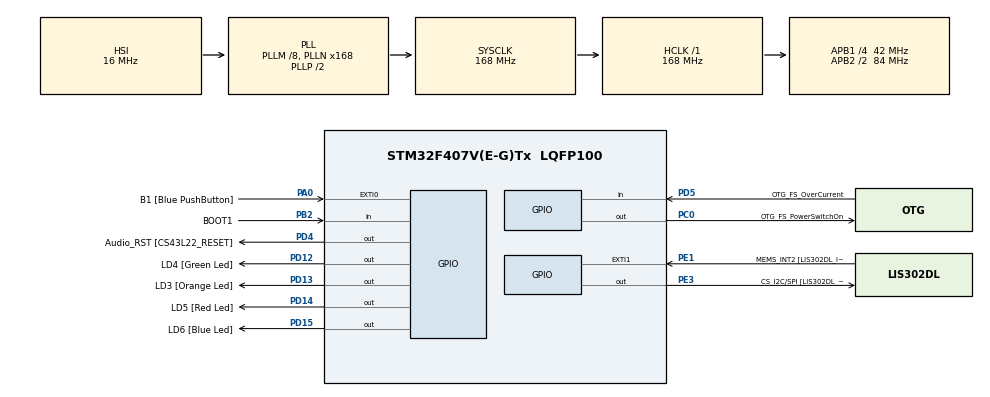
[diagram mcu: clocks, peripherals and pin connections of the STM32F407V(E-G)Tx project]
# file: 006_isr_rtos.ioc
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Mcu.Family=STM32F4
Mcu.Name=STM32F407V(E-G)Tx
Mcu.Package=LQFP100
NVIC.EXTI0_IRQn=true\:0\:0\:false\:false\:true\:true\:true\:true
NVIC.PriorityGroup=NVIC_PRIORITYGROUP_4
NVIC.TIM6_DAC_IRQn=true\:0\:0\:false\:false\:true\:false\:true\:true
NVIC.TimeBase=TIM6_DAC_IRQn
NVIC.TimeBaseIP=TIM6
PA0-WKUP.GPIO_Label=B1 [Blue PushButton]
PA0-WKUP.Signal=GPXTI0
PA10.GPIO_Label=OTG_FS_ID
PA10.GPIO_Mode=GPIO_MODE_AF_PP
PA10.GPIO_PuPd=GPIO_NOPULL
PA10.GPIO_Speed=GPIO_SPEED_FREQ_LOW
PA10.Signal=USB_OTG_FS_ID
PA11.GPIO_Label=OTG_FS_DM
PA11.GPIO_Mode=GPIO_MODE_AF_PP
PA11.GPIO_PuPd=GPIO_NOPULL
PA11.GPIO_Speed=GPIO_SPEED_FREQ_LOW
PA11.Signal=USB_OTG_FS_DM
PA12.GPIO_Label=OTG_FS_DP
PA12.GPIO_Mode=GPIO_MODE_AF_PP
PA12.GPIO_PuPd=GPIO_NOPULL
PA12.GPIO_Speed=GPIO_SPEED_FREQ_LOW
PA12.Signal=USB_OTG_FS_DP
PA13.GPIO_Label=SWDIO
PA13.Signal=SYS_JTMS-SWDIO
PA14.GPIO_Label=SWCLK
PA14.Signal=SYS_JTCK-SWCLK
PA4.GPIO_Label=I2S3_WS [CS43L22_LRCK]
PA4.GPIO_Mode=GPIO_MODE_AF_PP
PA4.GPIO_PuPd=GPIO_NOPULL
PA4.GPIO_Speed=GPIO_SPEED_FREQ_LOW
PA4.Signal=I2S3_WS
PA5.GPIO_Label=SPI1_SCK [LIS302DL_SCL/SPC]
PA5.GPIO_Mode=GPIO_MODE_AF_PP
PA5.GPIO_PuPd=GPIO_NOPULL
PA5.GPIO_Speed=GPIO_SPEED_FREQ_LOW
PA5.Signal=SPI1_SCK
PA6.GPIO_Label=SPI1_MISO [LIS302DL_SDO]
PA6.GPIO_Mode=GPIO_MODE_AF_PP
PA6.GPIO_PuPd=GPIO_NOPULL
PA6.GPIO_Speed=GPIO_SPEED_FREQ_LOW
PA6.Signal=SPI1_MISO
PA7.GPIO_Label=SPI1_MOSI [LIS302DL_SDA/SDI/SDO]
PA7.GPIO_Mode=GPIO_MODE_AF_PP
PA7.GPIO_PuPd=GPIO_NOPULL
PA7.GPIO_Speed=GPIO_SPEED_FREQ_LOW
PA7.Signal=SPI1_MOSI
PA9.GPIO_Label=VBUS_FS
PA9.GPIO_Mode=GPIO_MODE_INPUT
PA9.GPIO_PuPd=GPIO_NOPULL
PA9.Signal=USB_OTG_FS_VBUS
PB10.GPIO_Label=CLK_IN [MP45DT02_CLK]
PB10.GPIO_Mode=GPIO_MODE_AF_PP
PB10.GPIO_PuPd=GPIO_NOPULL
PB10.GPIO_Speed=GPIO_SPEED_FREQ_LOW
PB10.Signal=I2S2_CK
PB2.GPIO_Label=BOOT1
PB2.GPIO_Mode=GPIO_MODE_INPUT
PB2.GPIO_PuPd=GPIO_NOPULL
PB2.Signal=GPIO_Input
PB3.GPIO_Label=SWO
PB3.Signal=SYS_JTDO-SWO
PB6.GPIO_Label=Audio_SCL [CS43L22_SCL]
PB6.GPIO_Mode=GPIO_MODE_AF_OD
PB6.GPIO_PuPd=GPIO_NOPULL
PB6.GPIO_Speed=GPIO_SPEED_FREQ_LOW
PB6.Signal=I2C1_SCL
PB9.GPIO_Label=Audio_SDA [CS43L22_SDA]
PB9.GPIO_Mode=GPIO_MODE_AF_OD
PB9.GPIO_PuPd=GPIO_NOPULL
PB9.GPIO_Speed=GPIO_SPEED_FREQ_LOW
PB9.Signal=I2C1_SDA
PC0.GPIO_Label=OTG_FS_PowerSwitchOn
PC0.GPIO_PuPd=GPIO_NOPULL
PC0.GPIO_Speed=GPIO_SPEED_FREQ_LOW
PC0.PinState=GPIO_PIN_SET
PC0.Signal=GPIO_Output
PC10.GPIO_Label=I2S3_SCK [CS43L22_SCLK]
PC10.GPIO_Mode=GPIO_MODE_AF_PP
PC10.GPIO_PuPd=GPIO_NOPULL
PC10.GPIO_Speed=GPIO_SPEED_FREQ_LOW
PC10.Signal=I2S3_CK
PC12.GPIO_Label=I2S3_SD [CS43L22_SDIN]
PC12.GPIO_Mode=GPIO_MODE_AF_PP
PC12.GPIO_PuPd=GPIO_NOPULL
PC12.GPIO_Speed=GPIO_SPEED_FREQ_LOW
PC12.Signal=I2S3_SD
PC14-OSC32_IN.GPIO_Label=PC14-OSC32_IN
PC14-OSC32_IN.Signal=RCC_OSC32_IN
PC15-OSC32_OUT.GPIO_Label=PC15-OSC32_OUT
PC15-OSC32_OUT.Signal=RCC_OSC32_OUT
PC3.GPIO_Label=PDM_OUT [MP45DT02_DOUT]
PC3.GPIO_Mode=GPIO_MODE_AF_PP
PC3.GPIO_PuPd=GPIO_NOPULL
PC3.GPIO_Speed=GPIO_SPEED_FREQ_LOW
PC3.Signal=I2S2_SD
PC7.GPIO_Label=I2S3_MCK [CS43L22_MCLK]
PC7.GPIO_Mode=GPIO_MODE_AF_PP
PC7.GPIO_PuPd=GPIO_NOPULL
PC7.GPIO_Speed=GPIO_SPEED_FREQ_LOW
PC7.Signal=I2S3_MCK
PD12.GPIO_Label=LD4 [Green Led]
PD12.GPIO_PuPd=GPIO_NOPULL
PD12.GPIO_Speed=GPIO_SPEED_FREQ_LOW
PD12.Signal=GPIO_Output
PD13.GPIO_Label=LD3 [Orange Led]
PD13.GPIO_PuPd=GPIO_NOPULL
PD13.GPIO_Speed=GPIO_SPEED_FREQ_LOW
PD13.Signal=GPIO_Output
PD14.GPIO_Label=LD5 [Red Led]
PD14.GPIO_PuPd=GPIO_NOPULL
PD14.GPIO_Speed=GPIO_SPEED_FREQ_LOW
PD14.Signal=GPIO_Output
PD15.GPIO_Label=LD6 [Blue Led]
PD15.GPIO_PuPd=GPIO_NOPULL
PD15.GPIO_Speed=GPIO_SPEED_FREQ_LOW
PD15.Signal=GPIO_Output
PD4.GPIO_Label=Audio_RST [CS43L22_RESET]
PD4.GPIO_PuPd=GPIO_NOPULL
PD4.GPIO_Speed=GPIO_SPEED_FREQ_LOW
PD4.Signal=GPIO_Output
PD5.GPIO_Label=OTG_FS_OverCurrent
PD5.GPIO_Mode=GPIO_MODE_INPUT
PD5.GPIO_PuPd=GPIO_NOPULL
PD5.Signal=GPIO_Input
PE1.GPIO_Label=MEMS_INT2 [LIS302DL_INT2]
PE1.GPIO_ModeDefaultEXTI=GPIO_MODE_EVT_RISING
PE1.GPIO_PuPd=GPIO_NOPULL
PE1.Signal=GPXTI1
PE3.GPIO_Label=CS_I2C/SPI [LIS302DL_CS_I2C/SPI]
PE3.GPIO_PuPd=GPIO_NOPULL
PE3.GPIO_Speed=GPIO_SPEED_FREQ_LOW
PE3.Signal=GPIO_Output
PH0-OSC_IN.GPIO_Label=PH0-OSC_IN
PH0-OSC_IN.Signal=RCC_OSC_IN
PH1-OSC_OUT.GPIO_Label=PH1-OSC_OUT
PH1-OSC_OUT.Signal=RCC_OSC_OUT
ProjectManager.HeapSize=0x200
ProjectManager.StackSize=0x400
ProjectManager.TargetToolchain=STM32CubeIDE
RCC.48MHZClocksFreq_Value=48000000
RCC.AHBFreq_Value=168000000
RCC.APB1CLKDivider=RCC_HCLK_DIV4
RCC.APB1Freq_Value=42000000
RCC.APB1TimFreq_Value=84000000
RCC.APB2CLKDivider=RCC_HCLK_DIV2
RCC.APB2Freq_Value=84000000
RCC.APB2TimFreq_Value=168000000
RCC.CortexFreq_Value=168000000
RCC.HCLKFreq_Value=168000000
RCC.HSE_VALUE=8000000
RCC.HSI_VALUE=16000000
RCC.LSE_VALUE=32768
RCC.PLLM=8
RCC.PLLN=168
RCC.PLLQ=7
RCC.SYSCLKFreq_VALUE=168000000
RCC.SYSCLKSource=RCC_SYSCLKSOURCE_PLLCLK
RCC.VCOOutputFreq_Value=336000000
VP_SYS_VS_tim6.Mode=TIM6
board=STM32F407G-DISC1

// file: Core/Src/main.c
/* USER CODE BEGIN Header */
/**
  ******************************************************************************
  * @file           : main.c
  * @brief          : Main program body
  ******************************************************************************
  * @attention
  *
  * <h2><center>&copy; Copyright (c) 2021 STMicroelectronics.
  * All rights reserved.</center></h2>
  *
  * This software component is licensed by ST under BSD 3-Clause license,
  * the "License"; You may not use this file except in compliance with the
  * License. You may obtain a copy of the License at:
  *                        opensource.org/licenses/BSD-3-Clause
  *
  ******************************************************************************
  */
/* USER CODE END Header */

#include "main.h"

/* USER CODE BEGIN Includes */

#include "FreeRTOS.h"
#include "task.h"

/* USER CODE END Includes */

/* USER CODE BEGIN PV */

#define DWT_CTRL    (*(volatile uint32_t*)0xE0001000)

/* USER CODE END PV */

void SystemClock_Config(void);
static void MX_GPIO_Init(void);
/* USER CODE BEGIN PFP */

static void led_green_handler(void* parameters);
static void led_orange_handler(void* parameters);
static void led_red_handler(void* parameters);

extern void SEGGER_UART_init(uint32_t);

TaskHandle_t ledg_task_handle;
TaskHandle_t ledo_task_handle;
TaskHandle_t ledr_task_handle;
TaskHandle_t btn_task_handle;

TaskHandle_t volatile next_task_handle = NULL;

/* USER CODE END PFP */

int main(void)
{
  /* USER CODE BEGIN 1 */

	BaseType_t status;

  /* USER CODE END 1 */

  /* MCU Configuration--------------------------------------------------------*/

  /* Reset of all peripherals, Initializes the Flash interface and the Systick. */
  HAL_Init();

  /* Configure the system clock */
  SystemClock_Config();

  /* Initialize all configured peripherals */
  MX_GPIO_Init();
  /* USER CODE BEGIN 2 */

  SEGGER_UART_init(500000);

  //CYCLCNT enable
  DWT_CTRL |= ( 1 << 0);

  SEGGER_SYSVIEW_Conf();

  status = xTaskCreate(led_green_handler, "LED_green_task", 200, NULL, 3, &ledg_task_handle);

  configASSERT(status == pdPASS);

  next_task_handle = ledg_task_handle;

  status = xTaskCreate(led_orange_handler, "LED_orange_task", 200, NULL, 2, &ledo_task_handle);

   configASSERT(status == pdPASS);

  status = xTaskCreate(led_red_handler, "LED_red_task", 200,NULL, 1, &ledr_task_handle);

  configASSERT(status == pdPASS);

  //start the freeRTOS scheduler
  vTaskStartScheduler();

  /* USER CODE END 2 */

  /* Infinite loop */
  while (1)
  {

  }
}

void SystemClock_Config(void)
{
  RCC_OscInitTypeDef RCC_OscInitStruct = {0};
  RCC_ClkInitTypeDef RCC_ClkInitStruct = {0};

  /** Configure the main internal regulator output voltage
  */
  __HAL_RCC_PWR_CLK_ENABLE();
  __HAL_PWR_VOLTAGESCALING_CONFIG(PWR_REGULATOR_VOLTAGE_SCALE1);
  /** Initializes the CPU, AHB and APB busses clocks
  */
  RCC_OscInitStruct.OscillatorType = RCC_OSCILLATORTYPE_HSI;
  RCC_OscInitStruct.HSIState = RCC_HSI_ON;
  RCC_OscInitStruct.HSICalibrationValue = RCC_HSICALIBRATION_DEFAULT;
  RCC_OscInitStruct.PLL.PLLState = RCC_PLL_ON;
  RCC_OscInitStruct.PLL.PLLSource = RCC_PLLSOURCE_HSI;
  RCC_OscInitStruct.PLL.PLLM = 8;
  RCC_OscInitStruct.PLL.PLLN = 168;
  RCC_OscInitStruct.PLL.PLLP = RCC_PLLP_DIV2;
  RCC_OscInitStruct.PLL.PLLQ = 7;
  if (HAL_RCC_OscConfig(&RCC_OscInitStruct) != HAL_OK)
  {
    Error_Handler();
  }
  /** Initializes the CPU, AHB and APB busses clocks
  */
  RCC_ClkInitStruct.ClockType = RCC_CLOCKTYPE_HCLK|RCC_CLOCKTYPE_SYSCLK
                              |RCC_CLOCKTYPE_PCLK1|RCC_CLOCKTYPE_PCLK2;
  RCC_ClkInitStruct.SYSCLKSource = RCC_SYSCLKSOURCE_PLLCLK;
  RCC_ClkInitStruct.AHBCLKDivider = RCC_SYSCLK_DIV1;
  RCC_ClkInitStruct.APB1CLKDivider = RCC_HCLK_DIV4;
  RCC_ClkInitStruct.APB2CLKDivider = RCC_HCLK_DIV2;

  if (HAL_RCC_ClockConfig(&RCC_ClkInitStruct, FLASH_LATENCY_5) != HAL_OK)
  {
    Error_Handler();
  }
}

static void MX_GPIO_Init(void)
{
  GPIO_InitTypeDef GPIO_InitStruct = {0};

  /* GPIO Ports Clock Enable */
  __HAL_RCC_GPIOE_CLK_ENABLE();
  __HAL_RCC_GPIOC_CLK_ENABLE();
  __HAL_RCC_GPIOH_CLK_ENABLE();
  __HAL_RCC_GPIOA_CLK_ENABLE();
  __HAL_RCC_GPIOB_CLK_ENABLE();
  __HAL_RCC_GPIOD_CLK_ENABLE();

  /*Configure GPIO pin Output Level */
  HAL_GPIO_WritePin(CS_I2C_SPI_GPIO_Port, CS_I2C_SPI_Pin, GPIO_PIN_RESET);

  /*Configure GPIO pin Output Level */
  HAL_GPIO_WritePin(OTG_FS_PowerSwitchOn_GPIO_Port, OTG_FS_PowerSwitchOn_Pin, GPIO_PIN_SET);

  /*Configure GPIO pin Output Level */
  HAL_GPIO_WritePin(GPIOD, LD4_Pin|LD3_Pin|LD5_Pin|LD6_Pin
                          |Audio_RST_Pin, GPIO_PIN_RESET);

  /*Configure GPIO pin : CS_I2C_SPI_Pin */
  GPIO_InitStruct.Pin = CS_I2C_SPI_Pin;
  GPIO_InitStruct.Mode = GPIO_MODE_OUTPUT_PP;
  GPIO_InitStruct.Pull = GPIO_NOPULL;
  GPIO_InitStruct.Speed = GPIO_SPEED_FREQ_LOW;
  HAL_GPIO_Init(CS_I2C_SPI_GPIO_Port, &GPIO_InitStruct);

  /*Configure GPIO pin : OTG_FS_PowerSwitchOn_Pin */
  GPIO_InitStruct.Pin = OTG_FS_PowerSwitchOn_Pin;
  GPIO_InitStruct.Mode = GPIO_MODE_OUTPUT_PP;
  GPIO_InitStruct.Pull = GPIO_NOPULL;
  GPIO_InitStruct.Speed = GPIO_SPEED_FREQ_LOW;
  HAL_GPIO_Init(OTG_FS_PowerSwitchOn_GPIO_Port, &GPIO_InitStruct);

  /*Configure GPIO pin : PDM_OUT_Pin */
  GPIO_InitStruct.Pin = PDM_OUT_Pin;
  GPIO_InitStruct.Mode = GPIO_MODE_AF_PP;
  GPIO_InitStruct.Pull = GPIO_NOPULL;
  GPIO_InitStruct.Speed = GPIO_SPEED_FREQ_LOW;
  GPIO_InitStruct.Alternate = GPIO_AF5_SPI2;
  HAL_GPIO_Init(PDM_OUT_GPIO_Port, &GPIO_InitStruct);

  /*Configure GPIO pin : B1_Pin */
  GPIO_InitStruct.Pin = B1_Pin;
  GPIO_InitStruct.Mode = GPIO_MODE_IT_FALLING;
  GPIO_InitStruct.Pull = GPIO_NOPULL;
  HAL_GPIO_Init(B1_GPIO_Port, &GPIO_InitStruct);

  /*Configure GPIO pin : I2S3_WS_Pin */
  GPIO_InitStruct.Pin = I2S3_WS_Pin;
  GPIO_InitStruct.Mode = GPIO_MODE_AF_PP;
  GPIO_InitStruct.Pull = GPIO_NOPULL;
  GPIO_InitStruct.Speed = GPIO_SPEED_FREQ_LOW;
  GPIO_InitStruct.Alternate = GPIO_AF6_SPI3;
  HAL_GPIO_Init(I2S3_WS_GPIO_Port, &GPIO_InitStruct);

  /*Configure GPIO pins : SPI1_SCK_Pin SPI1_MISO_Pin SPI1_MOSI_Pin */
  GPIO_InitStruct.Pin = SPI1_SCK_Pin|SPI1_MISO_Pin|SPI1_MOSI_Pin;
  GPIO_InitStruct.Mode = GPIO_MODE_AF_PP;
  GPIO_InitStruct.Pull = GPIO_NOPULL;
  GPIO_InitStruct.Speed = GPIO_SPEED_FREQ_LOW;
  GPIO_InitStruct.Alternate = GPIO_AF5_SPI1;
  HAL_GPIO_Init(GPIOA, &GPIO_InitStruct);

  /*Configure GPIO pin : BOOT1_Pin */
  GPIO_InitStruct.Pin = BOOT1_Pin;
  GPIO_InitStruct.Mode = GPIO_MODE_INPUT;
  GPIO_InitStruct.Pull = GPIO_NOPULL;
  HAL_GPIO_Init(BOOT1_GPIO_Port, &GPIO_InitStruct);

  /*Configure GPIO pin : CLK_IN_Pin */
  GPIO_InitStruct.Pin = CLK_IN_Pin;
  GPIO_InitStruct.Mode = GPIO_MODE_AF_PP;
  GPIO_InitStruct.Pull = GPIO_NOPULL;
  GPIO_InitStruct.Speed = GPIO_SPEED_FREQ_LOW;
  GPIO_InitStruct.Alternate = GPIO_AF5_SPI2;
  HAL_GPIO_Init(CLK_IN_GPIO_Port, &GPIO_InitStruct);

  /*Configure GPIO pins : LD4_Pin LD3_Pin LD5_Pin LD6_Pin
                           Audio_RST_Pin */
  GPIO_InitStruct.Pin = LD4_Pin|LD3_Pin|LD5_Pin|LD6_Pin
                          |Audio_RST_Pin;
  GPIO_InitStruct.Mode = GPIO_MODE_OUTPUT_PP;
  GPIO_InitStruct.Pull = GPIO_NOPULL;
  GPIO_InitStruct.Speed = GPIO_SPEED_FREQ_LOW;
  HAL_GPIO_Init(GPIOD, &GPIO_InitStruct);

  /*Configure GPIO pins : I2S3_MCK_Pin I2S3_SCK_Pin I2S3_SD_Pin */
  GPIO_InitStruct.Pin = I2S3_MCK_Pin|I2S3_SCK_Pin|I2S3_SD_Pin;
  GPIO_InitStruct.Mode = GPIO_MODE_AF_PP;
  GPIO_InitStruct.Pull = GPIO_NOPULL;
  GPIO_InitStruct.Speed = GPIO_SPEED_FREQ_LOW;
  GPIO_InitStruct.Alternate = GPIO_AF6_SPI3;
  HAL_GPIO_Init(GPIOC, &GPIO_InitStruct);

  /*Configure GPIO pin : VBUS_FS_Pin */
  GPIO_InitStruct.Pin = VBUS_FS_Pin;
  GPIO_InitStruct.Mode = GPIO_MODE_INPUT;
  GPIO_InitStruct.Pull = GPIO_NOPULL;
  HAL_GPIO_Init(VBUS_FS_GPIO_Port, &GPIO_InitStruct);

  /*Configure GPIO pins : OTG_FS_ID_Pin OTG_FS_DM_Pin OTG_FS_DP_Pin */
  GPIO_InitStruct.Pin = OTG_FS_ID_Pin|OTG_FS_DM_Pin|OTG_FS_DP_Pin;
  GPIO_InitStruct.Mode = GPIO_MODE_AF_PP;
  GPIO_InitStruct.Pull = GPIO_NOPULL;
  GPIO_InitStruct.Speed = GPIO_SPEED_FREQ_LOW;
  GPIO_InitStruct.Alternate = GPIO_AF10_OTG_FS;
  HAL_GPIO_Init(GPIOA, &GPIO_InitStruct);

  /*Configure GPIO pin : OTG_FS_OverCurrent_Pin */
  GPIO_InitStruct.Pin = OTG_FS_OverCurrent_Pin;
  GPIO_InitStruct.Mode = GPIO_MODE_INPUT;
  GPIO_InitStruct.Pull = GPIO_NOPULL;
  HAL_GPIO_Init(OTG_FS_OverCurrent_GPIO_Port, &GPIO_InitStruct);

  /*Configure GPIO pins : Audio_SCL_Pin Audio_SDA_Pin */
  GPIO_InitStruct.Pin = Audio_SCL_Pin|Audio_SDA_Pin;
  GPIO_InitStruct.Mode = GPIO_MODE_AF_OD;
  GPIO_InitStruct.Pull = GPIO_PULLUP;
  GPIO_InitStruct.Speed = GPIO_SPEED_FREQ_LOW;
  GPIO_InitStruct.Alternate = GPIO_AF4_I2C1;
  HAL_GPIO_Init(GPIOB, &GPIO_InitStruct);

  /*Configure GPIO pin : MEMS_INT2_Pin */
  GPIO_InitStruct.Pin = MEMS_INT2_Pin;
  GPIO_InitStruct.Mode = GPIO_MODE_EVT_RISING;
  GPIO_InitStruct.Pull = GPIO_NOPULL;
  HAL_GPIO_Init(MEMS_INT2_GPIO_Port, &GPIO_InitStruct);

  /* EXTI interrupt init*/
  HAL_NVIC_SetPriority(EXTI0_IRQn, 6, 0);
  HAL_NVIC_EnableIRQ(EXTI0_IRQn);

}

/* USER CODE BEGIN 4 */

void button_interrupt_handler(void)
{
    static TickType_t last_isr_tick = 0;
    BaseType_t xHigherPriorityTaskWoken = pdFALSE;
    TickType_t now;

    now = xTaskGetTickCountFromISR();

    if ((now - last_isr_tick) < pdMS_TO_TICKS(50))
    {
        return;
    }

    last_isr_tick = now;

    if (next_task_handle != NULL)
    {
        traceISR_ENTER();

        xTaskNotifyFromISR(next_task_handle,
                           0,
                           eNoAction,
                           &xHigherPriorityTaskWoken);

//        xTaskNotifyFromISR(next_task_handle,
//						   0,
//						   eNoAction,
//						   NULL);

        portYIELD_FROM_ISR(xHigherPriorityTaskWoken);

        traceISR_EXIT();
    }
}

static void led_green_handler(void* parameters)
{
	BaseType_t  status;
	while(1)
	{
		SEGGER_SYSVIEW_PrintfTarget("Toggling green LED");
		HAL_GPIO_TogglePin(GPIOD, GPIO_PIN_12);
		status = xTaskNotifyWait(0,0,NULL,pdMS_TO_TICKS(1000));
		if(status == pdTRUE){
			portENTER_CRITICAL();
			next_task_handle = ledo_task_handle;
			HAL_GPIO_WritePin(GPIOD, GPIO_PIN_12,GPIO_PIN_SET);
			SEGGER_SYSVIEW_PrintfTarget("Delete green LED task");
			portEXIT_CRITICAL();
			vTaskDelete(NULL);
		}

	}
}

static void led_orange_handler(void* parameters)
{
	BaseType_t  status;

	while(1)
	{
		SEGGER_SYSVIEW_PrintfTarget("Toggling orange LED");
		HAL_GPIO_TogglePin(GPIOD, GPIO_PIN_13);
		status = xTaskNotifyWait(0,0,NULL,pdMS_TO_TICKS(800));
		if(status == pdTRUE){
			portENTER_CRITICAL();
			next_task_handle = ledr_task_handle;
			HAL_GPIO_WritePin(GPIOD, GPIO_PIN_13,GPIO_PIN_SET);
			SEGGER_SYSVIEW_PrintfTarget("Delete orange LED task");
			portEXIT_CRITICAL();
			vTaskDelete(NULL);
		}

	}
}

static void led_red_handler(void* parameters)
{
	BaseType_t  status;

	while(1)
	{
		SEGGER_SYSVIEW_PrintfTarget("Toggling red LED");
		HAL_GPIO_TogglePin(GPIOD, GPIO_PIN_15);
		status = xTaskNotifyWait(0,0,NULL,pdMS_TO_TICKS(400));
		if(status == pdTRUE){
			portENTER_CRITICAL();
			next_task_handle = NULL;
			HAL_GPIO_WritePin(GPIOD, GPIO_PIN_15,GPIO_PIN_SET);
			SEGGER_SYSVIEW_PrintfTarget("Delete red LED task");
			portEXIT_CRITICAL();
			vTaskDelete(NULL);
		}

	}

}

/* USER CODE END 4 */

void HAL_TIM_PeriodElapsedCallback(TIM_HandleTypeDef *htim)
{
  if (htim->Instance == TIM6) {
    HAL_IncTick();
  }
}

void Error_Handler(void)
{
}

/************************ (C) COPYRIGHT STMicroelectronics *****END OF FILE****/
